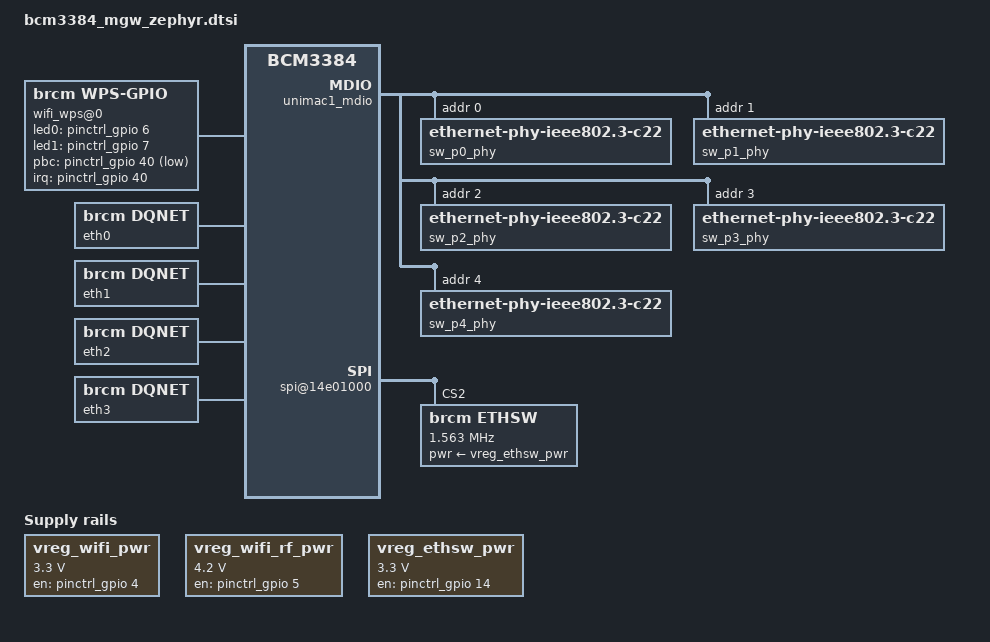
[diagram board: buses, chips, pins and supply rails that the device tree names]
/include/ "bcm3384_mgw.dtsi"

/ {
	pinctrl_gpio: pinctrl_gpio@14e00100 {
		compatible = "brcm,bcm3384-pinctrl-gpio";
		reg = <0x14e00100 0x2c>,	/* GPIO direction regs		*/
		      <0x14e0012c 0x2c>,	/* GPIO data regs		*/
		      <0x14e0029c 0x14>,	/* GPIO mux regs		*/
		      <0x14e00080 0x4>,		/* GPIO mux readback reg	*/
		      <0x104b00f8 0x4>,		/* MBOX cfg reg (HW spinlock)	*/
		      <0x14e0006c 0x4>,		/* GPIO IRQ ctrl reg		*/
		      <0x14e00098 0x4>,		/* GPIO IRQ mux lo reg		*/
		      <0x14e003f4 0x4>,		/* GPIO IRQ mux hi reg		*/
		      <0x104b0064 0x4>;		/* G2U ZMIPS IRQ status reg	*/
		#gpio-cells = <0x2>;
		gpio-controller;
		brcm,num-gpio-pins = <147>;
		brcm,num-pinmux-funcs = <8>;
		#interrupt-cells = <2>;
		interrupt-parent = <&zmips_intc>;
		interrupts = <14>;
		interrupt-controller;
		brcm,parent-irq-status-bit = <14>;
		brcm,gpio_irq_slot_assignments = <3 4 5>;

		pinctrl-names = "default";
		pinctrl-0 = <&wifi_pwr_ctrl
			     &ethsw_mdio &ethsw_rgmii &ethsw_spi &ethsw_pwr_ctrl
			     &wifi_wps>;
		wifi_pwr_ctrl: wifi_pwr_ctrl {
			brcm,pins = <4 5>;
			brcm,function = <5>; /* GPIO */
		};
		ethsw_mdio: ethsw_mdio {
			brcm,pins = <38 39>;
			brcm,function = <4>; /* MDIO */
		};
		ethsw_rgmii: ethsw_rgmii {
			brcm,pins = <54 55 56 57 58 59 60 61 62 63 64 65>;
			brcm,function = <1>; /* RGMII */
		};
		ethsw_spi: ethsw_spi {
			brcm,pins = <84 85 86 89>;
			brcm,function = <0 0 0 1>; /* SPI */
		};
		ethsw_pwr_ctrl: ethsw_pwr_ctrl {
			brcm,pins = <14>;
			brcm,function = <5>; /* GPIO */
		};
		wifi_wps: wifi_wps {
			brcm,pins = <6 7 40>;
			brcm,function = <5>; /* GPIO */
		};
	};

	vreg_wifi_pwr: vreg-wifi-pwr {
		compatible = "regulator-fixed";
		regulator-name = "vreg-wifi-pwr";
		regulator-min-microvolt = <3300000>;
		regulator-max-microvolt = <3300000>;
		gpio = <&pinctrl_gpio 4 0>;
		enable-active-high;
		regulator-boot-on;
	};

	vreg_wifi_rf_pwr: vreg-wifi-rf-pwr {
		compatible = "regulator-fixed";
		regulator-name = "vreg-wifi-rf-pwr";
		regulator-min-microvolt = <4200000>;
		regulator-max-microvolt = <4200000>;
		gpio = <&pinctrl_gpio 5 0>;
		enable-active-high;
		regulator-boot-on;
	};

	vreg_ethsw_pwr: vreg-ethsw-pwr {
		compatible = "regulator-fixed";
		regulator-name = "vreg-ethsw-pwr";
		regulator-min-microvolt = <3300000>;
		regulator-max-microvolt = <3300000>;
		gpio = <&pinctrl_gpio 14 0>;
		enable-active-high;
		startup-delay-us = <1000>;
	};

	wifi_wps@0 {
		compatible = "brcm,wps-gpio";
		dev-name = "wps-gpio";
		led0-gpio = <&pinctrl_gpio 6 0>;
		led1-gpio = <&pinctrl_gpio 7 0>;
		pbc-gpio = <&pinctrl_gpio 40 1>;
		interrupt-parent = <&pinctrl_gpio>;
		interrupts = <40 3>;
	};

	dqm@13c00000 {
		compatible = "brcm,dqm";
		reg = <0x13c00000 0x8000>;
		interrupt-parent = <&iop_intc>;
		interrupts = <10>;

		dev-name = "gfap";

		l1-irq-mask-offset	= <0x1058>;
		l1-irq-status-offset	= <0x100c>;
		l1-irq-dqm-mask		= <0x04000000 0x08000000>;

		cfg-offset		= <0x1800 0x2200>;
		lwm-irq-mask-offset	= <0x182c 0x222c>;
		lwm-irq-status-offset	= <0x180c 0x220c>;
		ne-irq-mask-offset	= <0x1830 0x2230>;
		ne-irq-status-offset	= <0x1818 0x2218>;
		ne-status-offset	= <0x1820 0x2220>;
		fpm-alloc-offset	= <0x0000 0x0000>;

		q-ctl-base-offset	= <0x1a00 0x2400>;
		q-data-base-offset	= <0x1c00 0x2600>;
		q-status-base-offset	= <0x1f00 0x2900>;
		q-mib-base-offset       = <0x2000 0x2a00>;

		q-count			= <64>;
		cfg-qsm			= <0>;
		qsm-size		= <0x3000>;
	};

	dqm@104b0000 {
		compatible = "brcm,dqm";
		reg = <0x104b0000 0x8000>;
		interrupt-parent = <&zmips_intc>;
		interrupts = <22>;

		dev-name = "g2u";

		l1-irq-mask-offset	= <0x0060>;
		l1-irq-status-offset	= <0x0064>;
		l1-irq-dqm-mask		= <0x00400000>;

		cfg-offset		= <0x0380>;
		lwm-irq-mask-offset	= <0x0394>;
		lwm-irq-status-offset	= <0x03a0>;
		ne-irq-mask-offset	= <0x03d4>;
		ne-irq-status-offset	= <0x03e0>;
		ne-status-offset	= <0x03e8>;
		fpm-alloc-offset	= <0x0000>;

		q-ctl-base-offset	= <0x0400>;
		q-data-base-offset	= <0x0800>;
		q-status-base-offset	= <0x0b00>;
		q-mib-base-offset       = <0x0c00>;

		q-count			= <32>;
		cfg-qsm			= <1>;
		qsm-size		= <0x1000>;
		#qsm-alloc-cells	= <4>;
					  /* Q #, # words/element, # elements (depth), offload(1)/non-offload(0) */
		qsm-allocation		= < 2   4  16    0		/* RPC RG-->CM				*/
					    3   4  16    0		/* RPC RG<--CM				*/
					    6   4  16    0		/* RPC STB-->CM				*/
					    7   4  16    0		/* RPC STB<--CM				*/
					    14  2  32    0		/* Private Network RG (bridge)-->CM	*/
					    15  2  32    0		/* Private Network RG (bridge)<--CM	*/
					    20  4  16    0		/* RPC SVM-->CM				*/
					    21  4  16    0 >;		/* RPC SVM<--CM				*/
	};

	rpcrgcm: rpcrgcm {
		compatible = "brcm,itc-rpc";
		dev-name = "rg-cm";
		dqm = "g2u";
		tx-q = <2>;
		rx-q = <3>;
	};

	rpcsvmcm: rpcsvmcm {
		compatible = "brcm,itc-rpc";
		dev-name = "svm-cm";
		dqm = "g2u";
		tx-q = <20>;
		rx-q = <21>;
	};

	rpcstbcm: rpcstbcm {
		compatible = "brcm,itc-rpc";
		dev-name = "stb-cm";
		dqm = "g2u";
		tx-q = <6>;
		rx-q = <7>;
	};

	qchan0: q-channel0 {
		dev-name = "fap-exception";

		#tx-q-cells = <3>;
		/*	DQM device,	Q#,	Priority				*/
		tx-q =	"gfap",		"10",	"0",	/* RG-->GFAP, hi priority	*/
			"gfap",		"11",	"1";	/* RG-->GFAP, lo priority	*/
		#rx-q-cells = <3>;
		/*	DQM device,	Q#,	Priority				*/
		rx-q =	"gfap",		"25",	"0",	/* GFAP-->RG, hi priority	*/
			"gfap",		"24",	"1",	/* GFAP-->RG, lo priority	*/
			"gfap",		"23",	"2";	/* GFAP-->RG, ctrl pkt		*/

		type = "fap-exception";
		q-msg-fmt = "gfap-fpm";
	};

	qchan1: q-channel1 {
                dev-name = "cm-private";

		#tx-q-cells = <3>;
		/*	DQM device,	Q#,	Priority	*/
		tx-q =	"g2u",	"14",	"0";	/* RG-->CM	*/
		#rx-q-cells = <3>;
		/*	DQM device,	Q#,	Priority	*/
		rx-q =	"g2u",	"15",	"0";	/* CM-->RG	*/

		type = "point-to-point";
		q-msg-fmt = "gfap-fpm";
	};

	priv0 { /* RG <--> CM private */
		compatible = "brcm,dqnet";
		channel = <&qchan1>;
		dev-name = "priv0";
		if-id = <0>;
		if-sub-id = <0>;
		demux = "none";
		link-type = "rpc";
		rpc-channel = <&rpcrgcm>;
	};

	unimac@12c00000 {
		compatible = "brcm,unimac";
		reg = <0x12c00000 0x20000>;
		mbdma_reg_offset = <0x0>;
		unimac_reg_offset = <0x600>;
		id_string = "unimac0";
		mbdma_use_scb = <0x0>;
		mbdma_burst_size = <64>;
		external_phy = <1>;
		mbdma_channel0_rx_macid = <1>;
		mbdma_channel0_tx_macid = <1>;
		mbdma_channel1_rx_macid = <0>;
		mbdma_channel1_tx_macid = <0>;
		rgmii_id_mode_disable = <0>;
		tx_clk_dly = <0x8>;
		rx_clk_dly = <0x8>;
	};

	unimac@12c02000 {
		compatible = "brcm,unimac";
		reg = <0x12c02000 0x20000>;
		unimac_reg_offset = <0x600>;
		id_string = "unimac1";
		skip_mbdma_init = <1>;
		external_phy = <1>;
	};

	gfap@13c00000 {
		compatible = "brcm,gfap";
		reg = <0x13c00000 0x1000000>;
		id_string = "gfap";
		gfap_use_scb = <0x0>;
		switch_data_mac = <0x1>;
	};

	unimac1_mdio: mdio@12c02600 {
		compatible = "brcm,unimac-mdio";
		dev-name = "UniMAC MII bus";
		reg = <0x12c0262c 0x4>,
		      <0x12c02600 0x4>;
		use-external-phy;
		reg-names = "unimac1_mdio";
		#size-cells = <1>;
		#address-cells = <1>;
		/*
		 * Below are all possible phy's on the
		 * external switch chips supported. However, since the
		 * chips may or may not have the associated port & phy
		 * bonded out of the chip (i.e. the 53124 does not have
		 * port 0 bonded out) then they might not all be used.
		 * 53124 used sw_p1_phy..sw_p4_phy while 53134 uses
		 * sw_phy0_phy..sw_p3_phy.
		 */
		sw_p0_phy: phy@0 {
			compatible = "ethernet-phy-ieee802.3-c22";
			reg = <0>;
			phy-mode = "rgmii";
		};
		sw_p1_phy: phy@1 {
			compatible = "ethernet-phy-ieee802.3-c22";
			reg = <1>;
			phy-mode = "rgmii";
		};
		sw_p2_phy: phy@2 {
			compatible = "ethernet-phy-ieee802.3-c22";
			reg = <2>;
			phy-mode = "rgmii";
		};
		sw_p3_phy: phy@3 {
			compatible = "ethernet-phy-ieee802.3-c22";
			reg = <3>;
			phy-mode = "rgmii";
		};
		sw_p4_phy: phy@4 {
			compatible = "ethernet-phy-ieee802.3-c22";
			reg = <4>;
			phy-mode = "rgmii";
		};
	};


	spi@14e01000 {
		compatible = "brcm,bcm6328-hsspi";
		reg = <0x14e01000 0x7ff>,
		      <0x104b00fc 0x8>;
		interrupts = <5>;
		interrupt-parent = <&periph_intc>;
		clocks = <&hsspi_clock>;
		clock-names = "hsspi";
		#address-cells = <1>;
		#size-cells = <0>;

//		flash@0 {
//			compatible = "m25p80";
//			spi-max-frequency = <1563000>;
//			reg = <0>;
//		};

		ethsw@2 {
			reg = <2>;
			compatible = "brcm,ethsw";
			spi-max-frequency = <1563000>;
			dev-name   = "ethsw";
			mii-port   = <7 0 1000>;
			imp-port   = <8 1000>;
			eee-support = <1>;
			pwr-supply = <&vreg_ethsw_pwr>;
			/*
			 * Below are references to all possible phy's on the
			 * external switch chips supported. However, since the
			 * chips may or may not have the associated port & phy
			 * bonded out of the chip (i.e. the 53124 does not have
			 * port 0 bonded out) then they might not all be used.
			 * 53124 used sw_p1_phy..sw_p4_phy while 53134 uses
			 * sw_phy0_phy..sw_p3_phy.
			 */
			phy-handles = <&sw_p0_phy>,
				      <&sw_p1_phy>,
				      <&sw_p2_phy>,
				      <&sw_p3_phy>,
				      <&sw_p4_phy>;
	        };

	};

	eth0: ethernet0 {
		compatible = "brcm,dqnet";
		channel = <&qchan0>;
		dev-name = "eth0";
		if-id = <0>;
		if-sub-id = <0>;
		demux = "arl";
		link-type = "switch";
	};

	eth1: ethernet1 {
		compatible = "brcm,dqnet";
		channel = <&qchan0>;
		dev-name = "eth1";
		if-id = <0>;
		if-sub-id = <1>;
		demux = "arl";
		link-type = "switch";
	};


	eth2: ethernet2 {
		compatible = "brcm,dqnet";
		channel = <&qchan0>;
		dev-name = "eth2";
		if-id = <0>;
		if-sub-id = <2>;
		demux = "arl";
		link-type = "switch";
	};

	eth3: ethernet3 {
		compatible = "brcm,dqnet";
		channel = <&qchan0>;
		dev-name = "eth3";
		if-id = <0>;
		if-sub-id = <3>;
		demux = "arl";
		link-type = "switch";
	};

//	moca0: moca0 {
//		compatible = "brcm,dqnet";
//		channel = <&qchan0>;
//		dev-name = "moca0";
//		if-id = <0>;
//		if-sub-id = <5>;
//		demux = "arl";
//		link-type = "switch";
//	};

	cm0 {
		compatible = "brcm,dqnet";
		channel = <&qchan0>;
		dev-name = "cm0";
		if-id = <15>;
		if-sub-id = <0>;
		demux = "subid";
		link-type = "rpc";
		rpc-channel = <&rpcrgcm>;
	};
};

&pcie0 {
	supply-names = "vreg-wifi-pwr", "vreg-wifi-rf-pwr";
	vreg-wifi-pwr-supply = <&vreg_wifi_pwr>;
	vreg-wifi-rf-pwr-supply = <&vreg_wifi_rf_pwr>;
};

&pcie1 {
	supply-names = "vreg-wifi-pwr", "vreg-wifi-rf-pwr";
	vreg-wifi-pwr-supply = <&vreg_wifi_pwr>;
	vreg-wifi-rf-pwr-supply = <&vreg_wifi_rf_pwr>;
};
